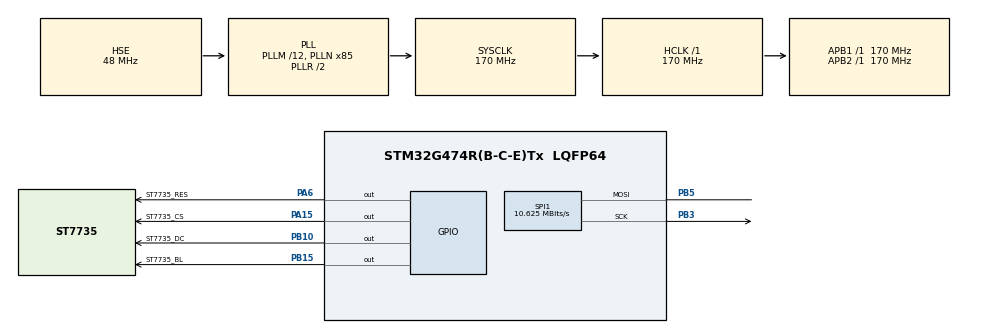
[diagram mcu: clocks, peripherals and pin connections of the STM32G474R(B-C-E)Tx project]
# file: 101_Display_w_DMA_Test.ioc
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Dma.Request0=SPI1_TX
Dma.SPI1_TX.0.Direction=DMA_MEMORY_TO_PERIPH
Dma.SPI1_TX.0.EventEnable=DISABLE
Dma.SPI1_TX.0.Instance=DMA1_Channel1
Dma.SPI1_TX.0.MemDataAlignment=DMA_MDATAALIGN_BYTE
Dma.SPI1_TX.0.MemInc=DMA_MINC_ENABLE
Dma.SPI1_TX.0.Mode=DMA_NORMAL
Dma.SPI1_TX.0.PeriphDataAlignment=DMA_PDATAALIGN_BYTE
Dma.SPI1_TX.0.PeriphInc=DMA_PINC_DISABLE
Dma.SPI1_TX.0.Polarity=HAL_DMAMUX_REQ_GEN_RISING
Dma.SPI1_TX.0.Priority=DMA_PRIORITY_LOW
Dma.SPI1_TX.0.RequestNumber=1
Dma.SPI1_TX.0.SignalID=NONE
Dma.SPI1_TX.0.SyncEnable=DISABLE
Dma.SPI1_TX.0.SyncPolarity=HAL_DMAMUX_SYNC_NO_EVENT
Dma.SPI1_TX.0.SyncRequestNumber=1
Dma.SPI1_TX.0.SyncSignalID=NONE
Mcu.Family=STM32G4
Mcu.Name=STM32G474R(B-C-E)Tx
Mcu.Package=LQFP64
NVIC.DMA1_Channel1_IRQn=true\:0\:0\:false\:false\:true\:false\:true\:true
NVIC.PriorityGroup=NVIC_PRIORITYGROUP_4
PA15.GPIO_Label=ST7735_CS
PA15.Signal=GPIO_Output
PA6.GPIO_Label=ST7735_RES
PA6.Signal=GPIO_Output
PB10.GPIO_Label=ST7735_DC
PB10.Signal=GPIO_Output
PB15.GPIO_Label=ST7735_BL
PB15.Signal=GPIO_Output
PB3.Mode=Simplex_Bidirectional_Master
PB3.Signal=SPI1_SCK
PB5.Mode=Simplex_Bidirectional_Master
PB5.Signal=SPI1_MOSI
PF0-OSC_IN.Mode=HSE-External-Oscillator
PF0-OSC_IN.Signal=RCC_OSC_IN
PF1-OSC_OUT.Mode=HSE-External-Oscillator
PF1-OSC_OUT.Signal=RCC_OSC_OUT
ProjectManager.HeapSize=0x200
ProjectManager.StackSize=0x400
ProjectManager.TargetToolchain=STM32CubeIDE
RCC.ADC12Freq_Value=170000000
RCC.ADC345Freq_Value=170000000
RCC.AHBFreq_Value=170000000
RCC.APB1Freq_Value=170000000
RCC.APB1TimFreq_Value=170000000
RCC.APB2Freq_Value=170000000
RCC.APB2TimFreq_Value=170000000
RCC.CortexFreq_Value=170000000
RCC.EXTERNAL_CLOCK_VALUE=12288000
RCC.HCLKFreq_Value=170000000
RCC.HSE_VALUE=48000000
RCC.HSI48_VALUE=48000000
RCC.HSI_VALUE=16000000
RCC.LSE_VALUE=32768
RCC.PLLM=RCC_PLLM_DIV12
RCC.PLLN=85
RCC.PLLSourceVirtual=RCC_PLLSOURCE_HSE
RCC.SYSCLKFreq_VALUE=170000000
RCC.SYSCLKSource=RCC_SYSCLKSOURCE_PLLCLK
RCC.USBFreq_Value=170000000
RCC.VCOOutputFreq_Value=340000000
SPI1.BaudRatePrescaler=SPI_BAUDRATEPRESCALER_16
SPI1.CalculateBaudRate=10.625 MBits/s
SPI1.DataSize=SPI_DATASIZE_8BIT
SPI1.Direction=SPI_DIRECTION_1LINE
SPI1.Mode=SPI_MODE_MASTER
SPI1.VirtualType=VM_MASTER
VP_SYS_VS_DBSignals.Mode=DisableDeadBatterySignals
board=custom

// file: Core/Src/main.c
/* USER CODE BEGIN Header */
/**
  ******************************************************************************
  * @file           : main.c
  * @brief          : Main program body
  ******************************************************************************
  * @attention
  *
  * Copyright (c) 2024 STMicroelectronics.
  * All rights reserved.
  *
  * This software is licensed under terms that can be found in the LICENSE file
  * in the root directory of this software component.
  * If no LICENSE file comes with this software, it is provided AS-IS.
  *
  ******************************************************************************
  */
/* USER CODE END Header */
#include "main.h"

/* USER CODE BEGIN Includes */
#include "st7735.h"
#include "fonts.h"
#include "testimg.h"
/* USER CODE END Includes */

/* USER CODE BEGIN PD */
uint8_t r = 0;
/* USER CODE END PD */

SPI_HandleTypeDef hspi1;
DMA_HandleTypeDef hdma_spi1_tx;

void SystemClock_Config(void);
static void MX_GPIO_Init(void);
static void MX_DMA_Init(void);
static void MX_SPI1_Init(void);

/* USER CODE BEGIN 0 */
void demoTFT(void)
{
 ST7735_SetRotation(r);

 ST7735_FillScreen(ST7735_BLACK);

 for(int x = 0; x < ST7735_GetWidth(); x++)
 {
   ST7735_DrawPixel(x, 0, ST7735_WHITE);
   ST7735_DrawPixel(x, ST7735_GetHeight() - 1, ST7735_WHITE);
 }

 for(int y = 0; y < ST7735_GetHeight(); y++)
 {
   ST7735_DrawPixel(0, y, ST7735_WHITE);
   ST7735_DrawPixel(ST7735_GetWidth() - 1, y, ST7735_WHITE);
 }

 ST7735_DrawLine(0, 0, ST7735_GetWidth(), ST7735_GetHeight(), ST7735_WHITE);
 ST7735_DrawLine(ST7735_GetWidth(), 0, 0, ST7735_GetHeight(), ST7735_WHITE);

 HAL_Delay(2000);

 ST7735_FillScreen(ST7735_BLACK);

 for (int i = 0; i < ST7735_GetHeight(); i += 4)
 {
  ST7735_DrawFastHLine(0, i, ST7735_GetWidth() - 1, ST7735_WHITE);
 }

 for (int i = 0; i < ST7735_GetWidth(); i += 4)
 {
  ST7735_DrawFastVLine(i, 0, ST7735_GetHeight() - 1, ST7735_WHITE);
 }

 HAL_Delay(2000);

 // Check fonts
 ST7735_FillScreen(ST7735_BLACK);
 ST7735_DrawString(0, 0, "STM32 TFT ", Font_16x26, ST7735_RED, ST7735_BLACK);
 ST7735_DrawString(0, 3*20, "ELECTRONICS", Font_16x26, ST7735_GREEN, ST7735_BLACK);
 ST7735_DrawString(0, 3*20+3*18, "Ismail", Font_16x26, ST7735_BLUE, ST7735_BLACK);
 HAL_Delay(2000);

 // Check colors
 ST7735_FillScreen(ST7735_BLACK);
 ST7735_DrawString(0, 0, "BLACK", Font_16x26, ST7735_WHITE, ST7735_BLACK);
 HAL_Delay(500);

 ST7735_FillScreen(ST7735_BLUE);
 ST7735_DrawString(0, 0, "BLUE", Font_16x26, ST7735_BLACK, ST7735_BLUE);
 HAL_Delay(500);

 ST7735_FillScreen(ST7735_RED);
 ST7735_DrawString(0, 0, "RED", Font_16x26, ST7735_BLACK, ST7735_RED);
 HAL_Delay(500);

 ST7735_FillScreen(ST7735_GREEN);
 ST7735_DrawString(0, 0, "GREEN", Font_16x26, ST7735_BLACK, ST7735_GREEN);
 HAL_Delay(500);

 ST7735_FillScreen(ST7735_CYAN);
 ST7735_DrawString(0, 0, "CYAN", Font_16x26, ST7735_BLACK, ST7735_CYAN);
 HAL_Delay(500);

 ST7735_FillScreen(ST7735_MAGENTA);
 ST7735_DrawString(0, 0, "MAGENTA", Font_16x26, ST7735_BLACK, ST7735_MAGENTA);
 HAL_Delay(500);

 ST7735_FillScreen(ST7735_YELLOW);
 ST7735_DrawString(0, 0, "YELLOW", Font_16x26, ST7735_BLACK, ST7735_YELLOW);
 HAL_Delay(500);

 ST7735_FillScreen(ST7735_WHITE);
 ST7735_DrawString(0, 0, "WHITE", Font_16x26, ST7735_BLACK, ST7735_WHITE);
 HAL_Delay(500);

 // Draw circles
 ST7735_FillScreen(ST7735_BLACK);
 for (int i = 0; i < ST7735_GetHeight() / 2; i += 2)
 {
  ST7735_DrawCircle(ST7735_GetWidth() / 2, ST7735_GetHeight() / 2, i, ST7735_YELLOW);
 }
 HAL_Delay(1000);

 ST7735_FillScreen(ST7735_BLACK);
 ST7735_FillTriangle(0, 0, ST7735_GetWidth() / 2, ST7735_GetHeight(), ST7735_GetWidth(), 0, ST7735_RED);
 HAL_Delay(1000);

 ST7735_FillScreen(ST7735_BLACK);
 ST7735_DrawImage(0, 0, 128, 128, (uint16_t*) test_img_128x128);
 HAL_Delay(3000);

 r++;
}
/* USER CODE END 0 */

int main(void)
{

  /* MCU Configuration--------------------------------------------------------*/

  /* Reset of all peripherals, Initializes the Flash interface and the Systick. */
  HAL_Init();

  /* Configure the system clock */
  SystemClock_Config();

  /* Initialize all configured peripherals */
  MX_GPIO_Init();
  MX_DMA_Init();
  MX_SPI1_Init();
  /* USER CODE BEGIN 2 */
  ST7735_Init();
  ST7735_FillScreen(ST7735_BLACK);
  // testAll();

  /* USER CODE END 2 */

  /* Infinite loop */
  while (1)
  {

    /* USER CODE BEGIN 3 */
	  /*ST7735_SetRotation(0);
	  ST7735_WriteString(0, 0, "Hello", Font_11x18, RED, BLACK);
	  HAL_Delay(1000);
	  fillScreen(BLACK);

	  ST7735_SetRotation(1);
	  ST7735_WriteString(0, 0, "WORLD", Font_11x18, GREEN, BLACK);
	  HAL_Delay(1000);
	  fillScreen(BLACK);

	  ST7735_SetRotation(2);
	  ST7735_WriteString(0, 0, "FROM", Font_11x18, BLUE, BLACK);
	  HAL_Delay(1000);
	  fillScreen(BLACK);

	  ST7735_SetRotation(3);
	  ST7735_WriteString(0, 0, "Raphael ", Font_11x18, YELLOW, BLACK);
	  ST7735_WriteString(0, 18, "Baumeler", Font_11x18, YELLOW, BLACK);
	  HAL_Delay(1000);*/

	  demoTFT();
  }
  /* USER CODE END 3 */
}

void SystemClock_Config(void)
{
  RCC_OscInitTypeDef RCC_OscInitStruct = {0};
  RCC_ClkInitTypeDef RCC_ClkInitStruct = {0};

  /** Configure the main internal regulator output voltage
  */
  HAL_PWREx_ControlVoltageScaling(PWR_REGULATOR_VOLTAGE_SCALE1_BOOST);

  /** Initializes the RCC Oscillators according to the specified parameters
  * in the RCC_OscInitTypeDef structure.
  */
  RCC_OscInitStruct.OscillatorType = RCC_OSCILLATORTYPE_HSE;
  RCC_OscInitStruct.HSEState = RCC_HSE_ON;
  RCC_OscInitStruct.PLL.PLLState = RCC_PLL_ON;
  RCC_OscInitStruct.PLL.PLLSource = RCC_PLLSOURCE_HSE;
  RCC_OscInitStruct.PLL.PLLM = RCC_PLLM_DIV12;
  RCC_OscInitStruct.PLL.PLLN = 85;
  RCC_OscInitStruct.PLL.PLLP = RCC_PLLP_DIV2;
  RCC_OscInitStruct.PLL.PLLQ = RCC_PLLQ_DIV2;
  RCC_OscInitStruct.PLL.PLLR = RCC_PLLR_DIV2;
  if (HAL_RCC_OscConfig(&RCC_OscInitStruct) != HAL_OK)
  {
    Error_Handler();
  }

  /** Initializes the CPU, AHB and APB buses clocks
  */
  RCC_ClkInitStruct.ClockType = RCC_CLOCKTYPE_HCLK|RCC_CLOCKTYPE_SYSCLK
                              |RCC_CLOCKTYPE_PCLK1|RCC_CLOCKTYPE_PCLK2;
  RCC_ClkInitStruct.SYSCLKSource = RCC_SYSCLKSOURCE_PLLCLK;
  RCC_ClkInitStruct.AHBCLKDivider = RCC_SYSCLK_DIV1;
  RCC_ClkInitStruct.APB1CLKDivider = RCC_HCLK_DIV1;
  RCC_ClkInitStruct.APB2CLKDivider = RCC_HCLK_DIV1;

  if (HAL_RCC_ClockConfig(&RCC_ClkInitStruct, FLASH_LATENCY_4) != HAL_OK)
  {
    Error_Handler();
  }
}

static void MX_SPI1_Init(void)
{

  /* SPI1 parameter configuration*/
  hspi1.Instance = SPI1;
  hspi1.Init.Mode = SPI_MODE_MASTER;
  hspi1.Init.Direction = SPI_DIRECTION_1LINE;
  hspi1.Init.DataSize = SPI_DATASIZE_8BIT;
  hspi1.Init.CLKPolarity = SPI_POLARITY_LOW;
  hspi1.Init.CLKPhase = SPI_PHASE_1EDGE;
  hspi1.Init.NSS = SPI_NSS_SOFT;
  hspi1.Init.BaudRatePrescaler = SPI_BAUDRATEPRESCALER_16;
  hspi1.Init.FirstBit = SPI_FIRSTBIT_MSB;
  hspi1.Init.TIMode = SPI_TIMODE_DISABLE;
  hspi1.Init.CRCCalculation = SPI_CRCCALCULATION_DISABLE;
  hspi1.Init.CRCPolynomial = 7;
  hspi1.Init.CRCLength = SPI_CRC_LENGTH_DATASIZE;
  hspi1.Init.NSSPMode = SPI_NSS_PULSE_ENABLE;
  if (HAL_SPI_Init(&hspi1) != HAL_OK)
  {
    Error_Handler();
  }

}

static void MX_DMA_Init(void)
{

  /* DMA controller clock enable */
  __HAL_RCC_DMAMUX1_CLK_ENABLE();
  __HAL_RCC_DMA1_CLK_ENABLE();

  /* DMA interrupt init */
  /* DMA1_Channel1_IRQn interrupt configuration */
  HAL_NVIC_SetPriority(DMA1_Channel1_IRQn, 0, 0);
  HAL_NVIC_EnableIRQ(DMA1_Channel1_IRQn);

}

static void MX_GPIO_Init(void)
{
  GPIO_InitTypeDef GPIO_InitStruct = {0};

  /* GPIO Ports Clock Enable */
  __HAL_RCC_GPIOF_CLK_ENABLE();
  __HAL_RCC_GPIOA_CLK_ENABLE();
  __HAL_RCC_GPIOB_CLK_ENABLE();

  /*Configure GPIO pin Output Level */
  HAL_GPIO_WritePin(GPIOA, ST7735_RES_Pin|ST7735_CS_Pin, GPIO_PIN_RESET);

  /*Configure GPIO pin Output Level */
  HAL_GPIO_WritePin(GPIOB, ST7735_DC_Pin|ST7735_BL_Pin, GPIO_PIN_RESET);

  /*Configure GPIO pins : ST7735_RES_Pin ST7735_CS_Pin */
  GPIO_InitStruct.Pin = ST7735_RES_Pin|ST7735_CS_Pin;
  GPIO_InitStruct.Mode = GPIO_MODE_OUTPUT_PP;
  GPIO_InitStruct.Pull = GPIO_NOPULL;
  GPIO_InitStruct.Speed = GPIO_SPEED_FREQ_LOW;
  HAL_GPIO_Init(GPIOA, &GPIO_InitStruct);

  /*Configure GPIO pins : ST7735_DC_Pin ST7735_BL_Pin */
  GPIO_InitStruct.Pin = ST7735_DC_Pin|ST7735_BL_Pin;
  GPIO_InitStruct.Mode = GPIO_MODE_OUTPUT_PP;
  GPIO_InitStruct.Pull = GPIO_NOPULL;
  GPIO_InitStruct.Speed = GPIO_SPEED_FREQ_LOW;
  HAL_GPIO_Init(GPIOB, &GPIO_InitStruct);

}

void Error_Handler(void)
{
  __disable_irq();
  while (1)
  {
  }
}
